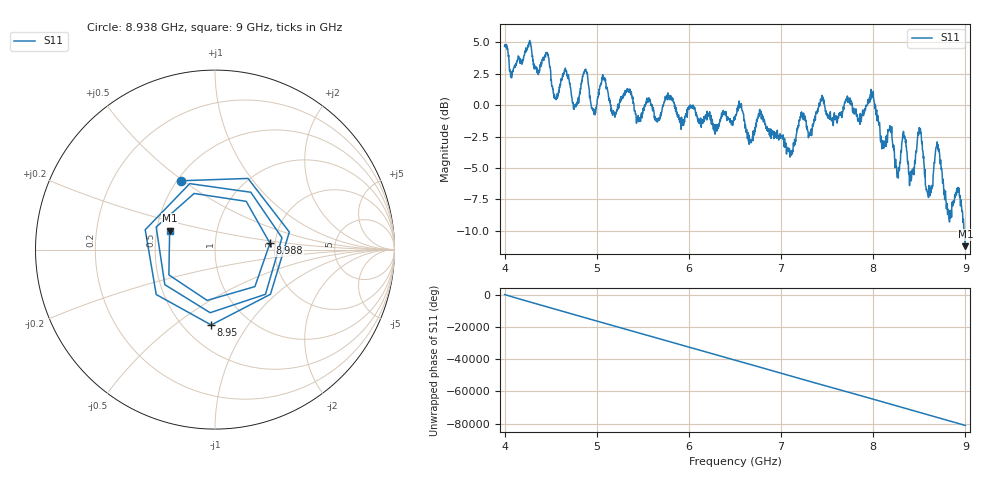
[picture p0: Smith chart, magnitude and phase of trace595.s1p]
! Created with skrf 1.8.0 (http://scikit-rf.org).
# Hz S RI R 50.0
!freq ReS11 ImS11
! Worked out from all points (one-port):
!   1601 points, 4 GHz to 9 GHz, reference 50 ohm
!   lowest |S11| = -11.2 dB at 9 GHz (marker M1), VSWR 1.76, Z = 29.3 + j6.73 ohm
!   |S11| at or under -10 dB: 8.98529 GHz to end of sweep
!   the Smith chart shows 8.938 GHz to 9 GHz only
!   S11 on the Smith chart (normalised r, x): 8.938 GHz: 0.52, +0.49; 8.95 GHz: 0.68, -0.69; 8.988 GHz: 1.87, +0.15; 9 GHz: 0.59, +0.13
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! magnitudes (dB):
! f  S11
! 4 GHz  4.7
! 4.078 GHz  2.4
! 4.456 GHz  4.1
! 4.553 GHz  0.6
! 4.625 GHz  2.1
! 4.759 GHz  -0.2
! 4.875 GHz  2.8
! 4.962 GHz  -0.5
! 5.072 GHz  2.2
! 5.25 GHz  0.3
! 5.875 GHz  -0.9
! 6.5 GHz  -1.1
! 7.125 GHz  -3.6
! 7.219 GHz  -0.7
! 7.75 GHz  0.6
! 7.988 GHz  1.0
! 8.103 GHz  -2.9
! 8.334 GHz  -2.6
! 8.375 GHz  -4.5
! 8.419 GHz  -5.2
! 8.506 GHz  -1.9
! 8.591 GHz  -7.1
! 8.697 GHz  -3.4
! 8.816 GHz  -8.6
! 8.938 GHz  -7.4
! 8.95 GHz  -7.5
! 8.988 GHz  -10.2
! 9 GHz  -11.2
